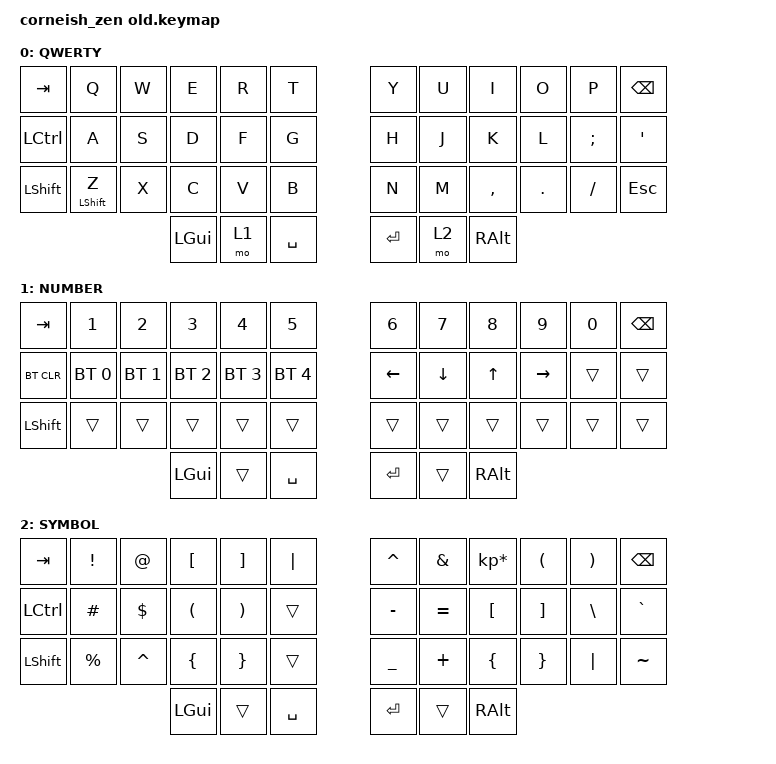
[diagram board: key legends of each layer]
#include <behaviors.dtsi>
#include <dt-bindings/zmk/keys.h>
#include <dt-bindings/zmk/bt.h>

/ {
  chosen {
    zmk,matrix_transform = &default_transform;
    //zmk,matrix_transform = &five_column_transform;
  };
};

/ {
        behaviors {
                kp_mo: behavior_kp_mo {
                        compatible = "zmk,behavior-hold-tap";
                        label = "kp_mo";
                        #binding-cells = <2>;
                        flavor = "hold-preferred";
                        tapping-term-ms = <200>;
                        bindings = <&kp>, <&mo>;
                };
        };

        combos {
                compatible = "zmk,combos";
                combo_bksp {
                        timeout-ms = <50>;
                        key-positions = <15 16>;
                        bindings = <&kp BSPC>
                }
        };

        keymap {
                compatible = "zmk,keymap";

                default_layer {
                        label = "QWERTY";
// -----------------------------------------------------------------------------------------
// |  TAB |  Q  |  W  |  E  |  R  |  T  |   |  Y  |  U   |  I  |  O  |  P  | BKSP |
// | CTRL |  A  |  S  |  D  |  F  |  G  |   |  H  |  J   |  K  |  L  |  ;  |  '   |
// | SHFT |LSFT/Z|  X  |  C  |  V  |  B  |   |  N  |  M   |  ,  |  .  |  /  | ESC  |
//                    | GUI | LWR | SPC |   | ENT | RSE  | ALT |
                        bindings = <
   &kp TAB   &kp Q &kp W &kp E &kp R &kp T   &kp Y &kp U  &kp I     &kp O   &kp P    &kp BSPC
   &kp LCTRL &kp A &kp S &kp D &kp F &kp G   &kp H &kp J  &kp K     &kp L   &kp SEMI &kp SQT
   &kp LSHFT &mt LSHIFT Z &kp X &kp C &kp V &kp B   &kp N &kp M  &kp COMMA &kp DOT &kp FSLH &kp ESC
                  &kp LGUI &mo 1 &kp SPACE   &kp RET &mo 2 &kp RALT
                        >;
                };
                lower_layer {
                        label = "NUMBER";
// -----------------------------------------------------------------------------------------
// |  TAB |  1  |  2  |  3  |  4  |  5  |   |  6  |  7  |  8  |  9  |  0  | BKSP |
// | BTCLR| BT1 | BT2 | BT3 | BT4 | BT5 |   | LFT | DWN |  UP | RGT |     |      |
// | SHFT |     |     |     |     |     |   |     |     |     |     |     |      |
//                    | GUI |     | SPC |   | ENT |     | ALT |
                        bindings = <
   &kp TAB    &kp N1       &kp N2       &kp N3       &kp N4       &kp N5         &kp N6   &kp N7   &kp N8 &kp N9    &kp N0 &kp BSPC
   &bt BT_CLR &bt BT_SEL 0 &bt BT_SEL 1 &bt BT_SEL 2 &bt BT_SEL 3 &bt BT_SEL 4   &kp LEFT &kp DOWN &kp UP &kp RIGHT &trans &trans
   &kp LSHFT  &trans       &trans       &trans       &trans       &trans         &trans   &trans   &trans &trans    &trans &trans
                          	        &kp LGUI     &trans       &kp SPACE      &kp RET  &trans   &kp RALT
                        >;
                };

                raise_layer {
                        label = "SYMBOL";
// -----------------------------------------------------------------------------------------
// |  TAB |  Q  |  W  |  E  |  R  |  T  |   |  Y  |  U   |  I  |  O  |  P  | BKSP |
// | CTRL |  A  |  S  |  D  |  F  |  G  |   |  H  |  J   |  K  |  L  |  ;  |  '   |
// | SHFT |  Z  |  X  |  C  |  V  |  B  |   |  N  |  M   |  ,  |  .  |  /  | ESC  |
//                    | GUI | LWR | SPC |   | ENT | RSE  | ALT |
// -----------------------------------------------------------------------------------------
// |  TAB |  !  |  @  |  {  |  }  | "|" |   |  ^  |  &  |  *  |  (  |  )  | BKSP |
// | CTRL |  #  |  $  |  (  |  )  |     |   |  -  |  =  |  [  |  ]  |  \  |  `   |
// | SHFT |  %  |  ^  |  [  |  ]  |     |   |  _  |  +  |  {  |  }  | "|" |  ~   |
//                    | GUI |     | SPC |   | ENT |     | ALT |
                        bindings = <
   &kp  TAB  &kp EXCL &kp AT &kp LBKT &kp RBKT &kp PIPE   &kp CARET &kp AMPS  &kp KP_MULTIPLY &kp LPAR &kp RPAR &kp BSPC
   &kp LCTRL &kp HASH   &kp DLLR &kp LPAR   &kp RPAR   &trans      &kp MINUS &kp EQUAL &kp LBKT        &kp RBKT &kp BSLH &kp GRAVE
   &kp LSHFT &kp PRCNT   &kp CARET &kp LBRC   &kp RBRC   &trans      &kp UNDER &kp PLUS  &kp LBRC        &kp RBRC &kp PIPE &kp TILDE
                    	     &kp LGUI &trans   &kp SPACE   &kp RET   &trans    &kp RALT
                        >;
                };
        };
};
